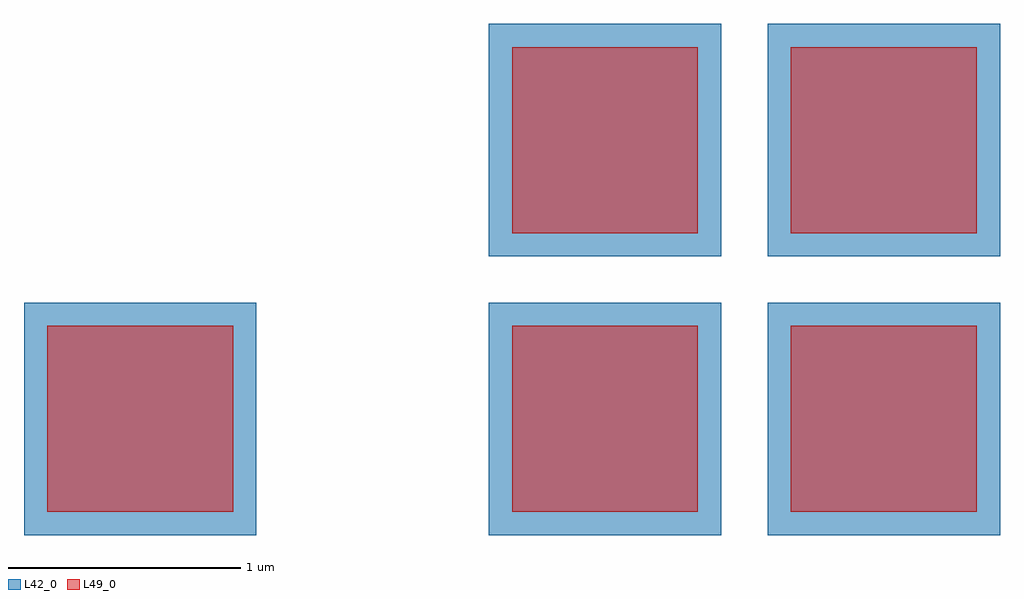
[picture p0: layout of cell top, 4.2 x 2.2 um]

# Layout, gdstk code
import gdstk
lib = gdstk.Library(unit=1e-6, precision=1e-09)
def R(c, l, rs):  # rectangles x0, y0, x1, y1
    for r in rs: c.add(gdstk.rectangle(r[:2], r[2:], *l))
L42_0 = (42, 0)
L49_0 = (49, 0)

child = lib.new_cell('child')
R(child, L42_0, [(0,0,1,1)])
R(child, L49_0, [(0.1,0.1,0.9,0.9)])

top = lib.new_cell('top')
top.add(gdstk.Reference(child, (0,0)))
r = gdstk.Reference(child, (2,0)); r.repetition = gdstk.Repetition(2, 2, v1=(1.2,0), v2=(0,1.2)); top.add(r)

lib.write_gds('top.gds')
